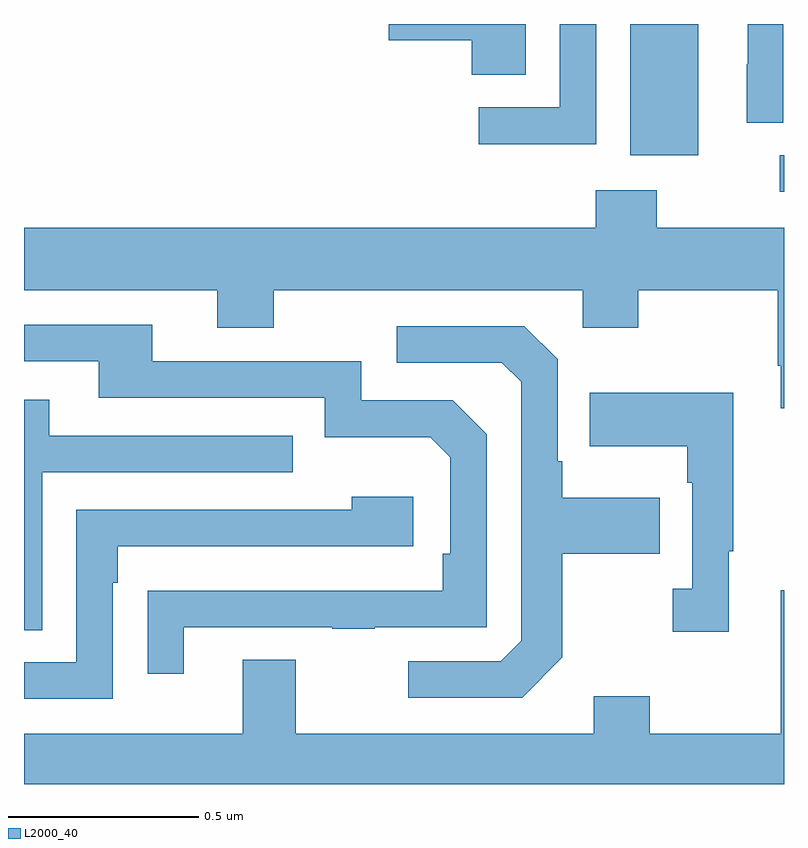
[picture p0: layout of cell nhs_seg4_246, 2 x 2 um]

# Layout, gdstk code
import gdstk
lib = gdstk.Library(unit=1e-6, precision=1e-09)
def R(c, l, rs):  # rectangles x0, y0, x1, y1
    for r in rs: c.add(gdstk.rectangle(r[:2], r[2:], *l))
def P(c, l, *ps):  # polygons
    for p in ps: c.add(gdstk.Polygon(p, *l))
L2000_40 = (2000, 40)

nhs_seg4_246 = lib.new_cell('nhs_seg4_246')
R(nhs_seg4_246, L2000_40, [(115.989,750.459,116,750.555), (115.595,750.554,115.774,750.9)])
P(nhs_seg4_246, L2000_40, [(115.998,750.9),(115.904,750.9),(115.904,750.794),(115.902,750.794),(115.902,750.64),(115.998,750.64)],
  [(115.506,750.9),(115.41,750.9),(115.41,750.681),(115.197,750.681),(115.197,750.583),(115.506,750.583)],
  [(115.321,750.9),(114.96,750.9),(114.96,750.857),(115.178,750.857),(115.178,750.766),(115.321,750.766)],
  [(116,750.364),(115.665,750.364),(115.665,750.463),(115.505,750.463),(115.505,750.364),(114,750.364),(114,750.2),(114.509,750.2),(114.509,750.101),(114.657,750.101),(114.657,750.2),(115.47,750.2),(115.47,750.101),(115.617,750.101),(115.617,750.2),(115.984,750.2),(115.984,750.001),(115.991,750.001),(115.991,749.889),(116,749.889)],
  [(114.421,749.313),(114.811,749.313),(114.811,749.308),(114.923,749.308),(114.923,749.313),(115.218,749.313),(115.218,749.82),(115.128,749.91),(114.888,749.91),(114.888,750.012),(114.337,750.012),(114.337,750.108),(114,750.108),(114,750.012),(114.197,750.012),(114.197,749.916),(114.792,749.916),(114.792,749.813),(115.069,749.813),(115.122,749.76),(115.122,749.506),(115.102,749.506),(115.102,749.409),(114.427,749.409),(114.427,749.408),(114.325,749.408),(114.325,749.19),(114.421,749.19)],
  [(115.417,749.233),(115.417,749.506),(115.673,749.506),(115.673,749.653),(115.417,749.653),(115.417,749.749),(115.404,749.749),(115.404,750.018),(115.317,750.105),(114.981,750.105),(114.981,750.009),(115.257,750.009),(115.308,749.958),(115.308,749.277),(115.254,749.223),(115.011,749.223),(115.011,749.127),(115.311,749.127)],
  [(115.855,749.513),(115.867,749.513),(115.867,749.929),(115.489,749.929),(115.489,749.789),(115.746,749.789),(115.746,749.693),(115.758,749.693),(115.758,749.414),(115.707,749.414),(115.707,749.301),(115.855,749.301)],
  [(114.048,749.721),(114.707,749.721),(114.707,749.817),(114.067,749.817),(114.067,749.911),(114,749.911),(114,749.305),(114.048,749.305)],
  [(114.234,749.429),(114.247,749.429),(114.247,749.526),(115.024,749.526),(115.024,749.656),(114.863,749.656),(114.863,749.622),(114.138,749.622),(114.138,749.22),(114,749.22),(114,749.124),(114.234,749.124)],
  [(116,749.41),(115.991,749.41),(115.991,749.032),(115.647,749.032),(115.647,749.131),(115.499,749.131),(115.499,749.032),(114.715,749.032),(114.715,749.227),(114.575,749.227),(114.575,749.032),(114,749.032),(114,748.9),(116,748.9)])

lib.write_gds('nhs_seg4_246.gds')
